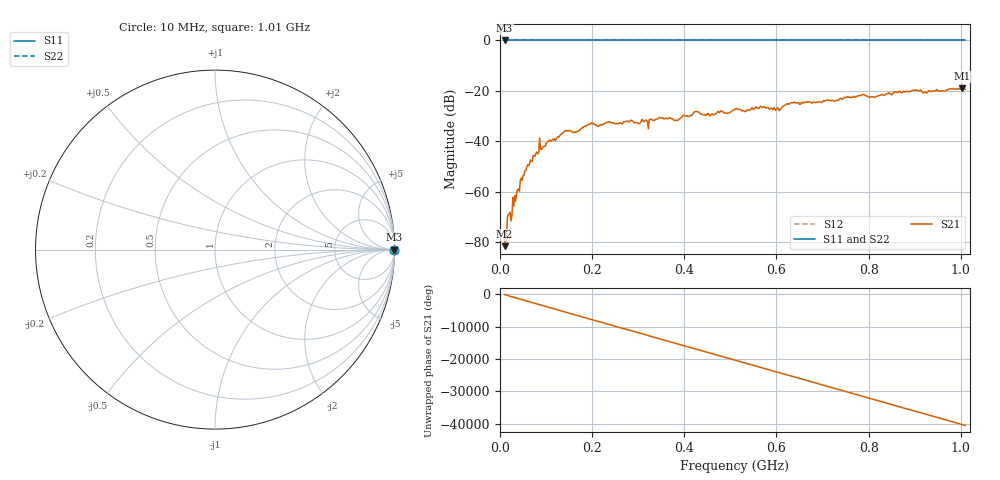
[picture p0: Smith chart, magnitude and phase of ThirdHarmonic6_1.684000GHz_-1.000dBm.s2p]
! 8/16/2025 8:13:04 PM
! C:\ANRITSUVNA\TEMP\TEMP.S2P
! CHANNEL.1
! TR.MEASUREMENT
! RAW.DATA
! RF.CORRECTION.OFF
! AVERAGING.OFF
! IF.BANDWIDTH: 5KHZ
! SWEEPTYPE:  FREQ.SWEEP(Linear)
! Reference Plane Port Info
! PORT:  PORT1  PORT2
! DISTANCE:  0  m  0  m
! TIME:  0  s  0  s
! PHASE.OFFSET:  0  deg.  0  deg.
! LOSS:  0  dB  0  dB
! REF.LOSS:  0  dB  0  dB
! REF.FREQ:  0  Hz  0  Hz
! Power Info
! POWER:  -20  dBm  -20  dBm
! EFF.POWER:  -20  dBm  -20  dBm
! SOURCE.ATTEN:  0  dB  0  dB
! TEST.ATTEN:  0  dB  0  dB
# GHZ S RI R 50.0
! FREQ.GHZ  S11RE  S11IM  S21RE  S21IM  S12RE  S12IM  S22RE  S22IM
!; PortSelection: Port_12
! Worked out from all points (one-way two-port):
!   501 points, 10 MHz to 1.01 GHz, reference 50 ohm
!   highest |S21| = -18.98 dB at 1.002 GHz (marker M1); lowest = -81.5 dB at 10 MHz (marker M2)
!   lowest |S11| = 0.0 dB at 10 MHz (marker M3)
!   |S11| at or under -10 dB: nowhere
!   |S22| runs from 0.0 to 0.0 dB; largest |S21 - S12| = 1.1
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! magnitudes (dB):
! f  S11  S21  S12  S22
! 10 MHz  0.0  -81.5  0.0  0.0
! 20 MHz  0.0  -68.8  0.0  0.0
! 26 MHz  0.0  -69.1  0.0  0.0
! 32 MHz  0.0  -61.5  0.0  0.0
! 48 MHz  0.0  -55.4  0.0  0.0
! 82 MHz  0.0  -44.9  0.0  0.0
! 142 MHz  0.0  -35.6  0.0  0.0
! 162 MHz  0.0  -36.2  0.0  0.0
! 178 MHz  0.0  -34.5  0.0  0.0
! 198 MHz  0.0  -32.7  0.0  0.0
! 318 MHz  0.0  -31.7  0.0  0.0
! 344 MHz  0.0  -31.0  0.0  0.0
! 382 MHz  0.0  -31.6  0.0  0.0
! 424 MHz  0.0  -28.2  0.0  0.0
! 460 MHz  0.0  -29.0  0.0  0.0
! 510 MHz  0.0  -27.2  0.0  0.0
! 602 MHz  0.0  -26.6  0.0  0.0
! 634 MHz  0.0  -24.7  0.0  0.0
! 678 MHz  0.0  -24.7  0.0  0.0
! 844 MHz  0.0  -20.8  0.0  0.0
! 1.002 GHz  0.0  -19.0  0.0  0.0
! 1.01 GHz  0.0  -19.4  0.0  0.0
